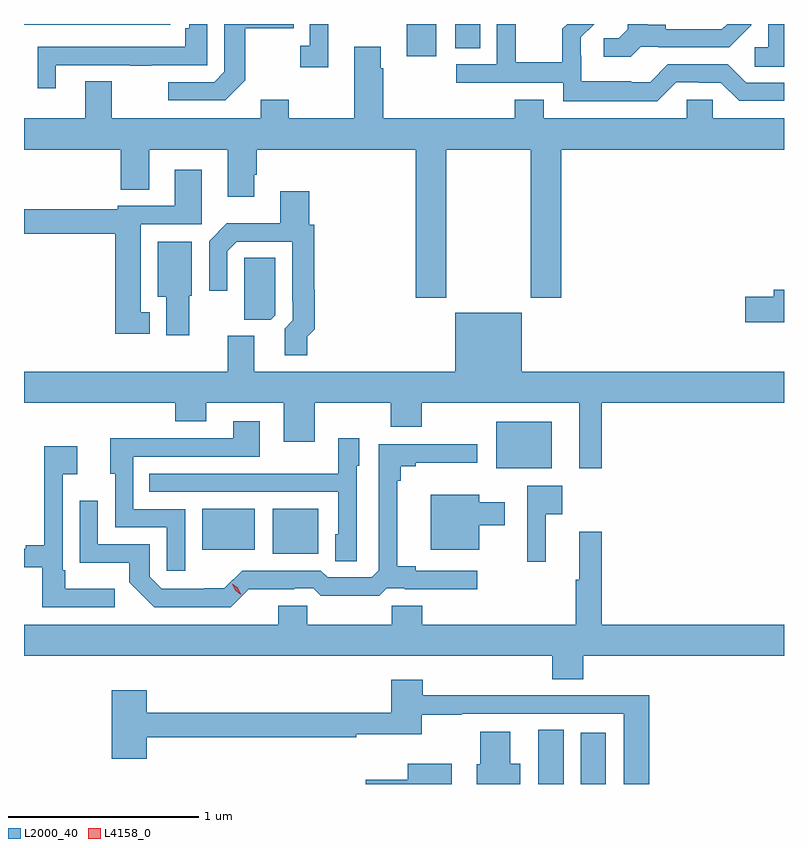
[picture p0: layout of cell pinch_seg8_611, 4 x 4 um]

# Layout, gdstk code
import gdstk
lib = gdstk.Library(unit=1e-6, precision=1e-09)
def R(c, l, rs):  # rectangles x0, y0, x1, y1
    for r in rs: c.add(gdstk.rectangle(r[:2], r[2:], *l))
def P(c, l, *ps):  # polygons
    for p in ps: c.add(gdstk.Polygon(p, *l))
L2000_40 = (2000, 40)
L4158_0 = (4158, 0)

pinch_seg8_611 = lib.new_cell('pinch_seg8_611')
R(pinch_seg8_611, L2000_40, [(228.848,1099.841,228.982,1100.126), (229.07,1099.841,229.204,1100.11), (227.45,1101.053,227.689,1101.289), (227.078,1101.074,227.356,1101.289), (228.626,1101.503,228.919,1101.748), (228.155,1103.67,228.31,1103.841), (228.41,1103.713,228.541,1103.841), (226.141,1103.838,226.912,1103.841)])
P(pinch_seg8_611, L2000_40, [(229.575,1103.535),(229.691,1103.535),(229.691,1103.532),(229.809,1103.532),(229.905,1103.436),(230.141,1103.436),(230.141,1103.532),(229.941,1103.532),(229.845,1103.628),(229.53,1103.628),(229.437,1103.535),(229.337,1103.535),(229.337,1103.539),(229.074,1103.539),(229.074,1103.673),(229.072,1103.673),(229.072,1103.77),(229.143,1103.841),(228.999,1103.841),(228.973,1103.815),(228.973,1103.641),(228.729,1103.641),(228.729,1103.841),(228.63,1103.841),(228.63,1103.628),(228.417,1103.628),(228.417,1103.532),(228.978,1103.532),(228.978,1103.435),(229.475,1103.435)],
  [(227.305,1103.545),(227.305,1103.818),(227.561,1103.818),(227.561,1103.841),(227.196,1103.841),(227.196,1103.589),(227.142,1103.535),(226.899,1103.535),(226.899,1103.439),(227.199,1103.439)],
  [(229.386,1103.721),(229.48,1103.721),(229.48,1103.718),(229.852,1103.718),(229.968,1103.834),(229.968,1103.841),(229.841,1103.841),(229.814,1103.814),(229.519,1103.814),(229.519,1103.837),(229.423,1103.837),(229.423,1103.841),(229.319,1103.841),(229.319,1103.813),(229.272,1103.766),(229.191,1103.766),(229.191,1103.669),(229.334,1103.669)],
  [(230.141,1103.841),(230.058,1103.841),(230.058,1103.718),(229.986,1103.718),(229.986,1103.617),(230.141,1103.617)],
  [(227.742,1103.841),(227.646,1103.841),(227.646,1103.726),(227.595,1103.726),(227.595,1103.613),(227.742,1103.613)],
  [(226.309,1103.625),(226.699,1103.625),(226.699,1103.62),(226.811,1103.62),(226.811,1103.625),(227.106,1103.625),(227.106,1103.841),(227.01,1103.841),(227.01,1103.818),(226.99,1103.818),(226.99,1103.721),(226.315,1103.721),(226.315,1103.72),(226.213,1103.72),(226.213,1103.502),(226.309,1103.502)],
  [(228.363,1103.18),(228.808,1103.18),(228.808,1102.401),(228.968,1102.401),(228.968,1103.18),(230.141,1103.18),(230.141,1103.344),(229.767,1103.344),(229.767,1103.442),(229.629,1103.442),(229.629,1103.344),(228.877,1103.344),(228.877,1103.443),(228.725,1103.443),(228.725,1103.344),(228.032,1103.344),(228.032,1103.609),(228.019,1103.609),(228.019,1103.722),(227.879,1103.722),(227.879,1103.344),(227.535,1103.344),(227.535,1103.443),(227.387,1103.443),(227.387,1103.344),(226.603,1103.344),(226.603,1103.539),(226.463,1103.539),(226.463,1103.344),(226.141,1103.344),(226.141,1103.18),(226.649,1103.18),(226.649,1102.969),(226.801,1102.969),(226.801,1103.18),(227.213,1103.18),(227.213,1102.932),(227.353,1102.932),(227.353,1103.047),(227.366,1103.047),(227.366,1103.18),(228.203,1103.18),(228.203,1102.401),(228.363,1102.401)],
  [(226.804,1102.325),(226.756,1102.325),(226.756,1102.788),(227.077,1102.788),(227.077,1103.074),(226.934,1103.074),(226.934,1102.884),(226.634,1102.884),(226.634,1102.867),(226.141,1102.867),(226.141,1102.738),(226.622,1102.738),(226.622,1102.212),(226.804,1102.212)],
  [(227.633,1102.195),(227.672,1102.234),(227.672,1102.442),(227.669,1102.442),(227.669,1102.785),(227.642,1102.785),(227.642,1102.96),(227.489,1102.96),(227.489,1102.792),(227.209,1102.792),(227.115,1102.698),(227.115,1102.437),(227.211,1102.437),(227.211,1102.644),(227.262,1102.695),(227.553,1102.695),(227.553,1102.381),(227.556,1102.381),(227.556,1102.281),(227.513,1102.238),(227.513,1102.098),(227.633,1102.098)],
  [(227.011,1102.41),(227.023,1102.41),(227.023,1102.696),(226.844,1102.696),(226.844,1102.406),(226.889,1102.406),(226.889,1102.203),(227.011,1102.203)],
  [(227.463,1102.308),(227.463,1102.61),(227.301,1102.61),(227.301,1102.499),(227.3,1102.499),(227.3,1102.285),(227.439,1102.285)],
  [(230.141,1102.442),(230.087,1102.442),(230.087,1102.406),(229.938,1102.406),(229.938,1102.271),(230.141,1102.271)],
  [(229.181,1101.848),(230.141,1101.848),(230.141,1102.012),(228.76,1102.012),(228.76,1102.321),(228.41,1102.321),(228.41,1102.012),(227.353,1102.012),(227.353,1102.2),(227.213,1102.2),(227.213,1102.012),(226.141,1102.012),(226.141,1101.848),(226.937,1101.848),(226.937,1101.749),(227.101,1101.749),(227.101,1101.848),(227.507,1101.848),(227.507,1101.642),(227.671,1101.642),(227.671,1101.848),(228.071,1101.848),(228.071,1101.72),(228.235,1101.72),(228.235,1101.848),(229.064,1101.848),(229.064,1101.504),(229.181,1101.504)],
  [(226.989,1101.288),(226.716,1101.288),(226.716,1101.564),(227.383,1101.564),(227.383,1101.751),(227.243,1101.751),(227.243,1101.66),(226.813,1101.66),(226.813,1101.662),(226.595,1101.662),(226.595,1101.474),(226.62,1101.474),(226.62,1101.192),(226.893,1101.192),(226.893,1100.964),(226.989,1100.964)],
  [(227.892,1101.516),(227.905,1101.516),(227.905,1101.661),(227.796,1101.661),(227.796,1101.475),(227.479,1101.475),(227.479,1101.474),(226.801,1101.474),(226.801,1101.378),(227.796,1101.378),(227.796,1101.156),(227.78,1101.156),(227.78,1101.013),(227.892,1101.013)],
  [(227.324,1100.867),(227.564,1100.867),(227.564,1100.871),(227.664,1100.871),(227.704,1100.832),(228.011,1100.832),(228.051,1100.871),(228.145,1100.871),(228.145,1100.867),(228.526,1100.867),(228.526,1100.964),(228.202,1100.964),(228.202,1100.987),(228.106,1100.987),(228.106,1101.437),(228.125,1101.437),(228.125,1101.514),(228.202,1101.514),(228.202,1101.533),(228.526,1101.533),(228.526,1101.63),(228.009,1101.63),(228.009,1100.967),(227.97,1100.928),(227.739,1100.928),(227.703,1100.964),(227.289,1100.964),(227.195,1100.87),(227.09,1100.87),(227.09,1100.868),(226.866,1100.868),(226.803,1100.931),(226.803,1101.102),(226.53,1101.102),(226.53,1101.331),(226.434,1101.331),(226.434,1101.005),(226.696,1101.005),(226.696,1100.903),(226.826,1100.772),(227.229,1100.772)],
  [(226.618,1100.869),(226.357,1100.869),(226.357,1100.965),(226.344,1100.965),(226.344,1101.47),(226.42,1101.47),(226.42,1101.619),(226.247,1101.619),(226.247,1101.097),(226.151,1101.097),(226.151,1101.078),(226.141,1101.078),(226.141,1100.981),(226.236,1100.981),(226.236,1100.772),(226.618,1100.772)],
  [(228.887,1101.26),(228.973,1101.26),(228.973,1101.412),(228.789,1101.412),(228.789,1101.012),(228.887,1101.012)],
  [(228.538,1101.203),(228.67,1101.203),(228.67,1101.325),(228.538,1101.325),(228.538,1101.364),(228.281,1101.364),(228.281,1101.074),(228.538,1101.074)],
  [(228.92,1100.392),(229.085,1100.392),(229.085,1100.516),(230.141,1100.516),(230.141,1100.68),(229.181,1100.68),(229.181,1101.169),(229.064,1101.169),(229.064,1100.916),(229.045,1100.916),(229.045,1100.68),(228.236,1100.68),(228.236,1100.778),(228.076,1100.778),(228.076,1100.68),(227.631,1100.68),(227.631,1100.778),(227.48,1100.778),(227.48,1100.68),(226.141,1100.68),(226.141,1100.516),(228.92,1100.516)],
  [(229.433,1100.309),(229.202,1100.309),(229.202,1100.307),(228.836,1100.307),(228.836,1100.309),(228.239,1100.309),(228.239,1100.389),(228.074,1100.389),(228.074,1100.215),(226.787,1100.215),(226.787,1100.335),(226.604,1100.335),(226.604,1099.974),(226.787,1099.974),(226.787,1100.086),(227.89,1100.086),(227.89,1100.102),(228.234,1100.102),(228.234,1100.206),(228.446,1100.206),(228.446,1100.211),(229.298,1100.211),(229.298,1099.841),(229.433,1099.841)],
  [(228.754,1099.948),(228.7,1099.948),(228.7,1100.116),(228.542,1100.116),(228.542,1099.944),(228.524,1099.944),(228.524,1099.841),(228.754,1099.841)],
  [(228.391,1099.948),(228.161,1099.948),(228.161,1099.864),(227.94,1099.864),(227.94,1099.841),(228.391,1099.841)])
P(pinch_seg8_611, L4158_0, [(227.282,1100.838),(227.252,1100.861),(227.237,1100.895),(227.237,1100.895),(227.237,1100.895),(227.267,1100.873),(227.282,1100.839),(227.282,1100.838)])

lib.write_gds('pinch_seg8_611.gds')
